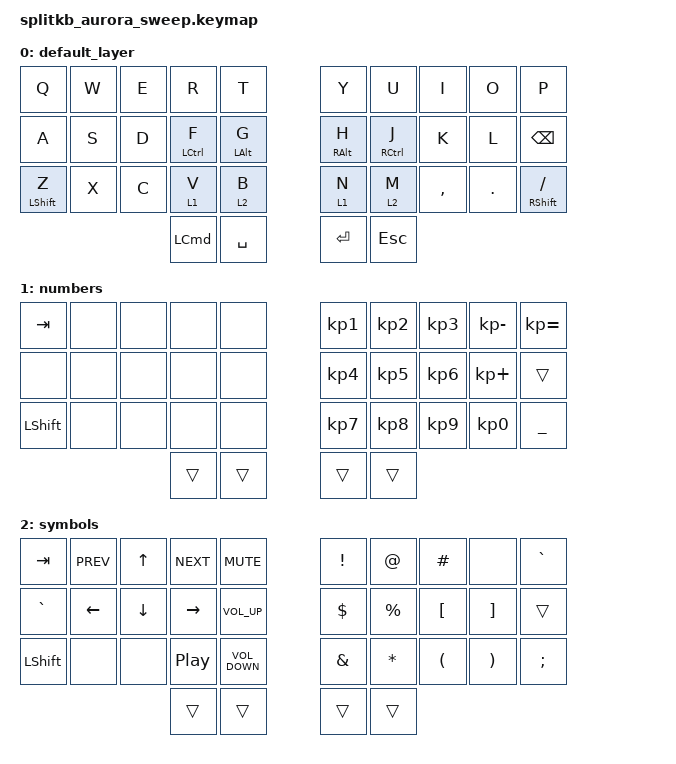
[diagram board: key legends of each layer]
#include <behaviors.dtsi>
#include <dt-bindings/zmk/keys.h>

/ {
    behaviors {
        hm: homerow_mods {
            compatible = "zmk,behavior-hold-tap";
            label = "HOMEROW_MODS";
            #binding-cells = <2>;
            tapping-term-ms = <200>;
            quick_tap_ms = <0>;
            flavor = "tap-preferred";
            bindings = <&kp>, <&kp>;
        };
    };

    keymap {
        compatible = "zmk,keymap";

        default_layer {
            bindings = <
&kp Q             &kp W      &kp E  &kp R        &kp T             &kp Y            &kp U        &kp I      &kp O    &kp P
&kp A             &kp S      &kp D  &hm LCTRL F  &hm LEFT_ALT G    &hm RIGHT_ALT H  &hm RCTRL J  &kp K      &kp L    &kp BSPC
&hm LEFT_SHIFT Z  &kp X      &kp C  &lt 1 V      &lt 2 B           &lt 1 N          &lt 2 M      &kp COMMA  &kp DOT  &hm RIGHT_SHIFT FSLH
&kp LCMD          &kp SPACE                                                                                 &kp RET  &kp ESCAPE
            >;
        };

        numbers {
            bindings = <
&kp TAB         &none   &none  &none  &none    &kp KP_N1  &kp KP_N2  &kp KP_N3  &kp KP_MINUS  &kp KP_EQUAL
&none           &none   &none  &none  &none    &kp KP_N4  &kp KP_N5  &kp KP_N6  &kp KP_PLUS   &trans
&kp LEFT_SHIFT  &none   &none  &none  &none    &kp KP_N7  &kp KP_N8  &kp KP_N9  &kp KP_N0     &kp UNDERSCORE
&trans          &trans                                                          &trans        &trans
            >;
        };

        symbols {
            bindings = <
&kp TAB         &kp C_PREV  &kp UP    &kp C_NEXT        &kp K_MUTE           &kp EXCL       &kp AT_SIGN   &kp HASH              &none                  &kp GRAVE
&kp GRAVE       &kp LEFT    &kp DOWN  &kp RIGHT         &kp C_VOLUME_UP      &kp DOLLAR     &kp PERCENT   &kp LEFT_BRACKET      &kp RIGHT_BRACKET      &trans
&kp LEFT_SHIFT  &none       &none     &kp C_PLAY_PAUSE  &kp C_VOLUME_DOWN    &kp AMPERSAND  &kp ASTERISK  &kp LEFT_PARENTHESIS  &kp RIGHT_PARENTHESIS  &kp SEMICOLON
&trans          &trans                                                                                                          &trans                 &trans
            >;
        };
    };
};
